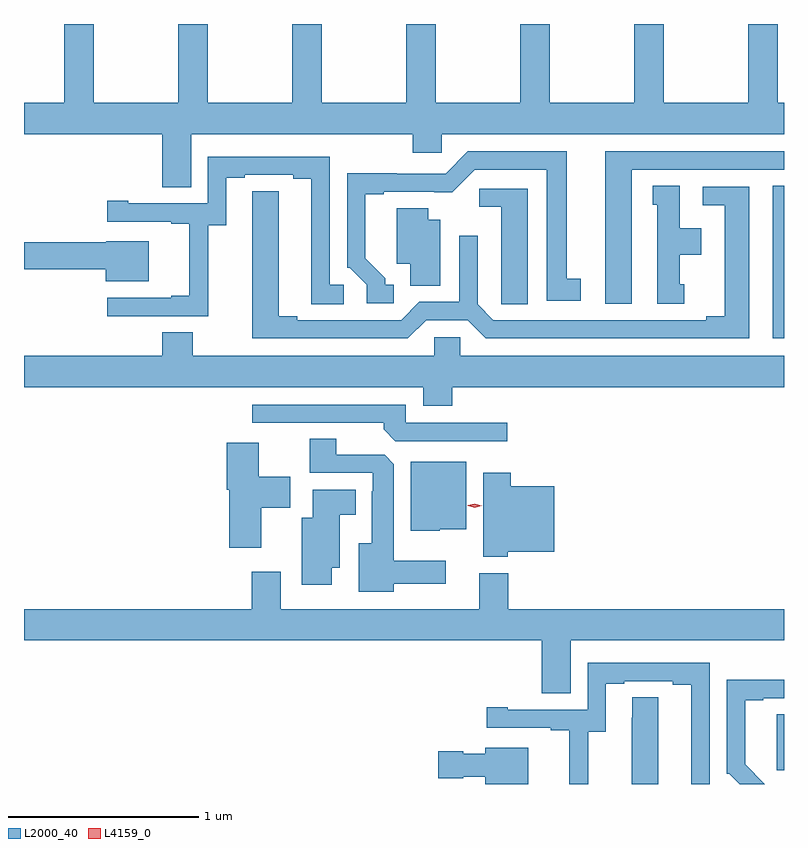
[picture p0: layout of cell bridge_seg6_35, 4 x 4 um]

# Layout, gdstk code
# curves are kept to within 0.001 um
import gdstk
lib = gdstk.Library(unit=1e-6, precision=1e-09)
def R(c, l, rs):  # rectangles x0, y0, x1, y1
    for r in rs: c.add(gdstk.rectangle(r[:2], r[2:], *l))
def P(c, l, *ps):  # polygons
    for p in ps: c.add(gdstk.Polygon(p, *l))
L2000_40 = (2000, 40)
L4159_0 = (4159, 0)

bridge_seg6_35 = lib.new_cell('bridge_seg6_35')
R(bridge_seg6_35, L2000_40, [(1106.399,982.616,1106.438,982.91), (1106.378,984.888,1106.438,985.691)])
P(bridge_seg6_35, L2000_40, [(1103.317,985.964),(1104.485,985.964),(1104.485,985.866),(1104.636,985.866),(1104.636,985.964),(1106.438,985.964),(1106.438,986.128),(1106.406,986.128),(1106.406,986.543),(1106.251,986.543),(1106.251,986.128),(1105.806,986.128),(1105.806,986.543),(1105.651,986.543),(1105.651,986.128),(1105.206,986.128),(1105.206,986.543),(1105.051,986.543),(1105.051,986.128),(1104.606,986.128),(1104.606,986.543),(1104.451,986.543),(1104.451,986.128),(1104.006,986.128),(1104.006,986.543),(1103.851,986.543),(1103.851,986.128),(1103.406,986.128),(1103.406,986.543),(1103.251,986.543),(1103.251,986.128),(1102.806,986.128),(1102.806,986.543),(1102.651,986.543),(1102.651,986.128),(1102.438,986.128),(1102.438,985.964),(1103.165,985.964),(1103.165,985.684),(1103.317,985.684)],
  [(1105.636,985.776),(1106.438,985.776),(1106.438,985.872),(1105.496,985.872),(1105.496,985.071),(1105.636,985.071)],
  [(1104.385,985.17),(1104.34,985.17),(1104.34,985.205),(1104.235,985.31),(1104.235,985.647),(1104.331,985.647),(1104.331,985.659),(1104.692,985.658),(1104.81,985.776),(1105.19,985.776),(1105.19,985.086),(1105.369,985.086),(1105.369,985.202),(1105.294,985.202),(1105.294,985.872),(1104.774,985.872),(1104.657,985.755),(1104.401,985.755),(1104.401,985.757),(1104.138,985.757),(1104.138,985.26),(1104.153,985.26),(1104.243,985.17),(1104.243,985.074),(1104.385,985.074)],
  [(1103.409,985.483),(1103.503,985.483),(1103.503,985.734),(1103.599,985.734),(1103.599,985.749),(1103.855,985.749),(1103.855,985.729),(1103.951,985.729),(1103.951,985.069),(1104.121,985.069),(1104.121,985.17),(1104.048,985.17),(1104.048,985.845),(1103.406,985.845),(1103.406,985.599),(1102.987,985.599),(1102.987,985.612),(1102.875,985.612),(1102.875,985.503),(1103.213,985.503),(1103.213,985.491),(1103.309,985.491),(1103.309,985.114),(1103.213,985.114),(1103.213,985.101),(1102.875,985.101),(1102.875,985.005),(1103.409,985.005)],
  [(1105.912,985.173),(1105.888,985.173),(1105.888,985.328),(1106.002,985.328),(1106.002,985.468),(1105.888,985.468),(1105.888,985.691),(1105.748,985.691),(1105.748,985.593),(1105.772,985.593),(1105.772,985.071),(1105.912,985.071)],
  [(1104.555,984.984),(1104.773,984.984),(1104.869,984.888),(1106.254,984.888),(1106.254,985.686),(1106.01,985.686),(1106.01,985.59),(1106.126,985.59),(1106.126,985.004),(1106.03,985.004),(1106.03,984.984),(1104.909,984.984),(1104.825,985.068),(1104.825,985.429),(1104.729,985.429),(1104.729,985.08),(1104.519,985.08),(1104.423,984.984),(1103.875,984.984),(1103.875,985.004),(1103.779,985.004),(1103.779,985.664),(1103.64,985.664),(1103.639,984.888),(1104.459,984.888)],
  [(1105.09,985.677),(1104.834,985.677),(1104.834,985.58),(1104.95,985.58),(1104.95,985.177),(1104.951,985.177),(1104.951,985.069),(1105.09,985.069)],
  [(1104.628,985.513),(1104.565,985.513),(1104.565,985.574),(1104.401,985.574),(1104.401,985.28),(1104.47,985.28),(1104.47,985.165),(1104.628,985.165)],
  [(1103.095,985.399),(1102.872,985.399),(1102.872,985.394),(1102.438,985.394),(1102.438,985.252),(1102.868,985.252),(1102.868,985.19),(1103.095,985.19)],
  [(1104.692,984.632),(1106.438,984.632),(1106.438,984.796),(1104.735,984.796),(1104.735,984.894),(1104.597,984.894),(1104.597,984.796),(1103.325,984.796),(1103.325,984.92),(1103.165,984.92),(1103.165,984.796),(1102.438,984.796),(1102.438,984.632),(1104.539,984.632),(1104.539,984.533),(1104.692,984.533)],
  [(1104.982,984.444),(1104.447,984.444),(1104.447,984.54),(1103.64,984.54),(1103.64,984.444),(1104.332,984.444),(1104.332,984.41),(1104.393,984.348),(1104.982,984.348)],
  [(1104.385,983.597),(1104.658,983.597),(1104.658,983.719),(1104.385,983.719),(1104.385,984.227),(1104.336,984.276),(1104.082,984.276),(1104.082,984.359),(1103.942,984.359),(1103.942,984.18),(1104.273,984.18),(1104.273,984.083),(1104.269,984.083),(1104.269,983.809),(1104.2,983.809),(1104.2,983.555),(1104.385,983.555)],
  [(1103.686,983.998),(1103.839,983.998),(1103.839,984.16),(1103.674,984.16),(1103.674,984.34),(1103.504,984.34),(1103.504,984.091),(1103.519,984.091),(1103.519,983.787),(1103.686,983.787)],
  [(1104.627,983.885),(1104.766,983.885),(1104.766,984.238),(1104.473,984.238),(1104.473,983.876),(1104.627,983.876)],
  [(1104.984,983.765),(1105.228,983.765),(1105.228,984.109),(1105.001,984.109),(1105.001,984.181),(1104.854,984.181),(1104.854,983.738),(1104.984,983.738)],
  [(1104.058,983.681),(1104.1,983.681),(1104.1,983.96),(1104.184,983.96),(1104.184,984.091),(1103.957,984.091),(1103.957,983.944),(1103.9,983.944),(1103.9,983.592),(1104.058,983.592)],
  [(1105.315,983.3),(1106.438,983.3),(1106.438,983.464),(1104.986,983.464),(1104.986,983.653),(1104.833,983.653),(1104.833,983.464),(1103.788,983.464),(1103.788,983.659),(1103.636,983.659),(1103.636,983.464),(1102.438,983.464),(1102.438,983.3),(1105.163,983.3),(1105.163,983.02),(1105.315,983.02)],
  [(1105.407,982.819),(1105.501,982.819),(1105.501,983.07),(1105.597,983.07),(1105.597,983.085),(1105.853,983.085),(1105.853,983.065),(1105.949,983.065),(1105.949,982.543),(1106.046,982.543),(1106.046,983.181),(1105.404,983.181),(1105.404,982.935),(1104.985,982.935),(1104.985,982.948),(1104.873,982.948),(1104.873,982.839),(1105.211,982.839),(1105.211,982.827),(1105.307,982.827),(1105.307,982.543),(1105.407,982.543)],
  [(1106.233,982.646),(1106.233,982.983),(1106.329,982.983),(1106.329,982.995),(1106.438,982.995),(1106.438,983.091),(1106.399,983.091),(1106.399,983.093),(1106.136,983.093),(1106.136,982.596),(1106.151,982.596),(1106.204,982.543),(1106.336,982.543)],
  [(1105.777,983),(1105.638,983),(1105.638,982.892),(1105.637,982.892),(1105.637,982.543),(1105.777,982.543)],
  [(1105.093,982.735),(1104.866,982.735),(1104.866,982.702),(1104.75,982.702),(1104.75,982.715),(1104.618,982.715),(1104.618,982.573),(1104.75,982.573),(1104.75,982.58),(1104.866,982.58),(1104.866,982.543),(1105.093,982.543)])
P(bridge_seg6_35, L4159_0, [(1104.81,983.998),(1104.774,984.008),(1104.773,984.009),(1104.774,984.009),(1104.81,984.018),(1104.847,984.007),(1104.847,984.007),(1104.847,984.007)])

lib.write_gds('bridge_seg6_35.gds')
